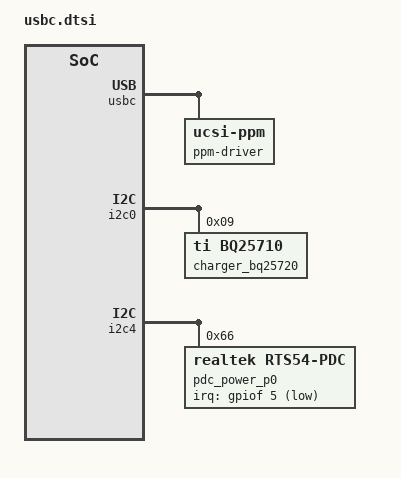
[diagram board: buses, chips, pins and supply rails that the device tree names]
/* Copyright 2026 The ChromiumOS Authors
 * Use of this source code is governed by a BSD-style license that can be
 * found in the LICENSE file.
 */

#include <usbc-policy.dtsi>

/ {
	usbc {
		#address-cells = <1>;
		#size-cells = <0>;

		usbc_port0: port0@0 {
			compatible = "named-usbc-port";
			reg = <0>;
			chg = <&charger_bq25720>;
			pdc = <&pdc_power_p0>;
			policy = <&cros_policy>;
		};

		ppm-driver {
			compatible = "ucsi-ppm";
		};
	};
};

&i2c0 {
	charger_bq25720: bq25720@9 {
		compatible = "ti,bq25710";
		status = "okay";
		reg = <0x9>;
	};
};

&i2c4 {
	pdc_power_p0: rts54-pdc@66 {
		compatible = "realtek,rts54-pdc";
		reg = <0x66>;
		irq-gpios = <&gpiof 5 GPIO_ACTIVE_LOW>;
		ccd;
	};
};
